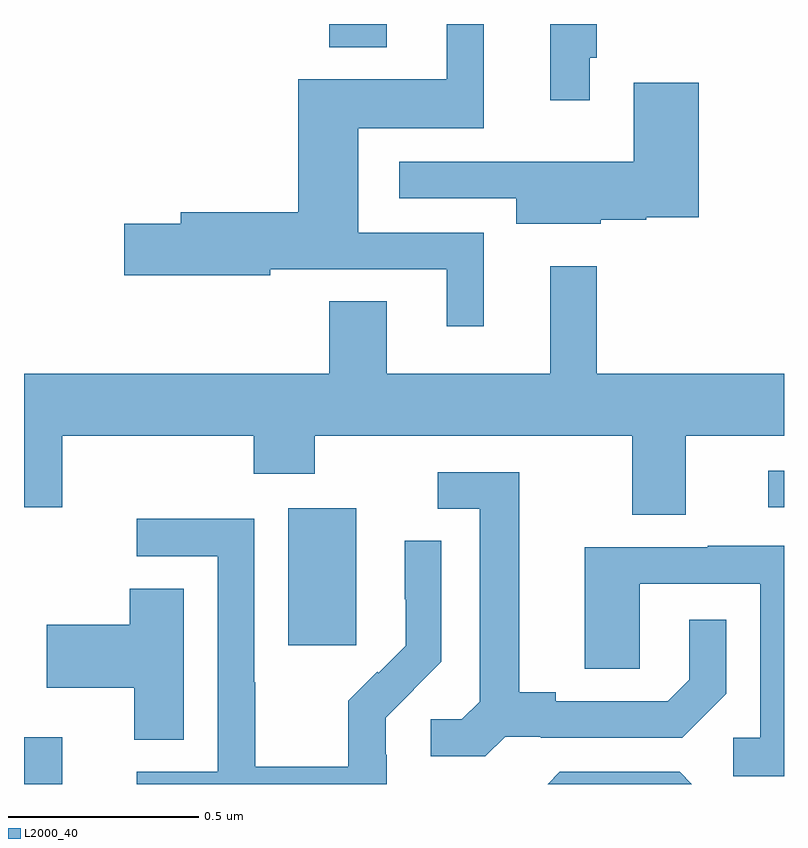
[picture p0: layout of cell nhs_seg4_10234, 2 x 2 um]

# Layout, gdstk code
import gdstk
lib = gdstk.Library(unit=1e-6, precision=1e-09)
def R(c, l, rs):  # rectangles x0, y0, x1, y1
    for r in rs: c.add(gdstk.rectangle(r[:2], r[2:], *l))
def P(c, l, *ps):  # polygons
    for p in ps: c.add(gdstk.Polygon(p, *l))
L2000_40 = (2000, 40)

nhs_seg4_10234 = lib.new_cell('nhs_seg4_10234')
R(nhs_seg4_10234, L2000_40, [(237,799.9,237.1,800.023), (237.695,800.265,237.874,800.626), (238.959,800.628,239,800.724), (237.803,801.839,237.955,801.9)])
P(nhs_seg4_10234, L2000_40, [(238.489,801.811),(238.507,801.811),(238.507,801.9),(238.385,801.9),(238.385,801.699),(238.489,801.699)],
  [(238.21,801.351),(237.88,801.351),(237.88,801.626),(238.21,801.626),(238.21,801.9),(238.112,801.9),(238.112,801.754),(237.722,801.754),(237.722,801.404),(237.413,801.404),(237.413,801.374),(237.264,801.374),(237.264,801.239),(237.648,801.239),(237.648,801.255),(238.112,801.255),(238.112,801.105),(238.21,801.105)],
  [(238.518,801.385),(238.638,801.385),(238.638,801.392),(238.775,801.392),(238.775,801.745),(238.604,801.745),(238.604,801.538),(238.299,801.538),(238.299,801.537),(237.987,801.537),(237.987,801.441),(238.295,801.441),(238.295,801.374),(238.518,801.374)],
  [(237.803,801.17),(237.803,800.98),(237,800.98),(237,800.628),(237.1,800.628),(237.1,800.816),(237.605,800.816),(237.605,800.717),(237.765,800.717),(237.765,800.816),(238.601,800.816),(238.601,800.608),(238.741,800.608),(238.741,800.816),(239,800.816),(239,800.98),(238.507,800.98),(238.507,801.262),(238.385,801.262),(238.385,800.98),(237.955,800.98),(237.955,801.17)],
  [(238.266,800.025),(238.36,800.025),(238.36,800.022),(238.732,800.022),(238.848,800.138),(238.848,800.332),(238.751,800.332),(238.751,800.175),(238.694,800.118),(238.399,800.118),(238.399,800.141),(238.303,800.141),(238.303,800.721),(238.089,800.721),(238.089,800.625),(238.199,800.625),(238.199,800.117),(238.152,800.07),(238.071,800.07),(238.071,799.973),(238.214,799.973)],
  [(237.954,799.977),(237.952,799.977),(237.952,800.074),(238.026,800.148),(238.025,800.149),(238.098,800.222),(238.098,800.54),(238.002,800.54),(238.002,800.386),(238.004,800.386),(238.004,800.264),(237.933,800.193),(237.93,800.196),(237.853,800.119),(237.853,799.945),(237.609,799.945),(237.609,800.168),(237.606,800.168),(237.606,800.598),(237.297,800.598),(237.297,800.499),(237.51,800.499),(237.51,799.932),(237.297,799.932),(237.297,799.9),(237.954,799.9)],
  [(239,800.527),(238.799,800.527),(238.799,800.523),(238.475,800.523),(238.475,800.203),(238.62,800.203),(238.62,800.427),(238.938,800.427),(238.938,800.022),(238.866,800.022),(238.866,799.921),(239,799.921)],
  [(237.421,800.414),(237.278,800.414),(237.278,800.319),(237.06,800.319),(237.06,800.153),(237.29,800.153),(237.29,800.017),(237.421,800.017)],
  [(238.725,799.932),(238.41,799.932),(238.378,799.9),(238.757,799.9)])

lib.write_gds('nhs_seg4_10234.gds')
